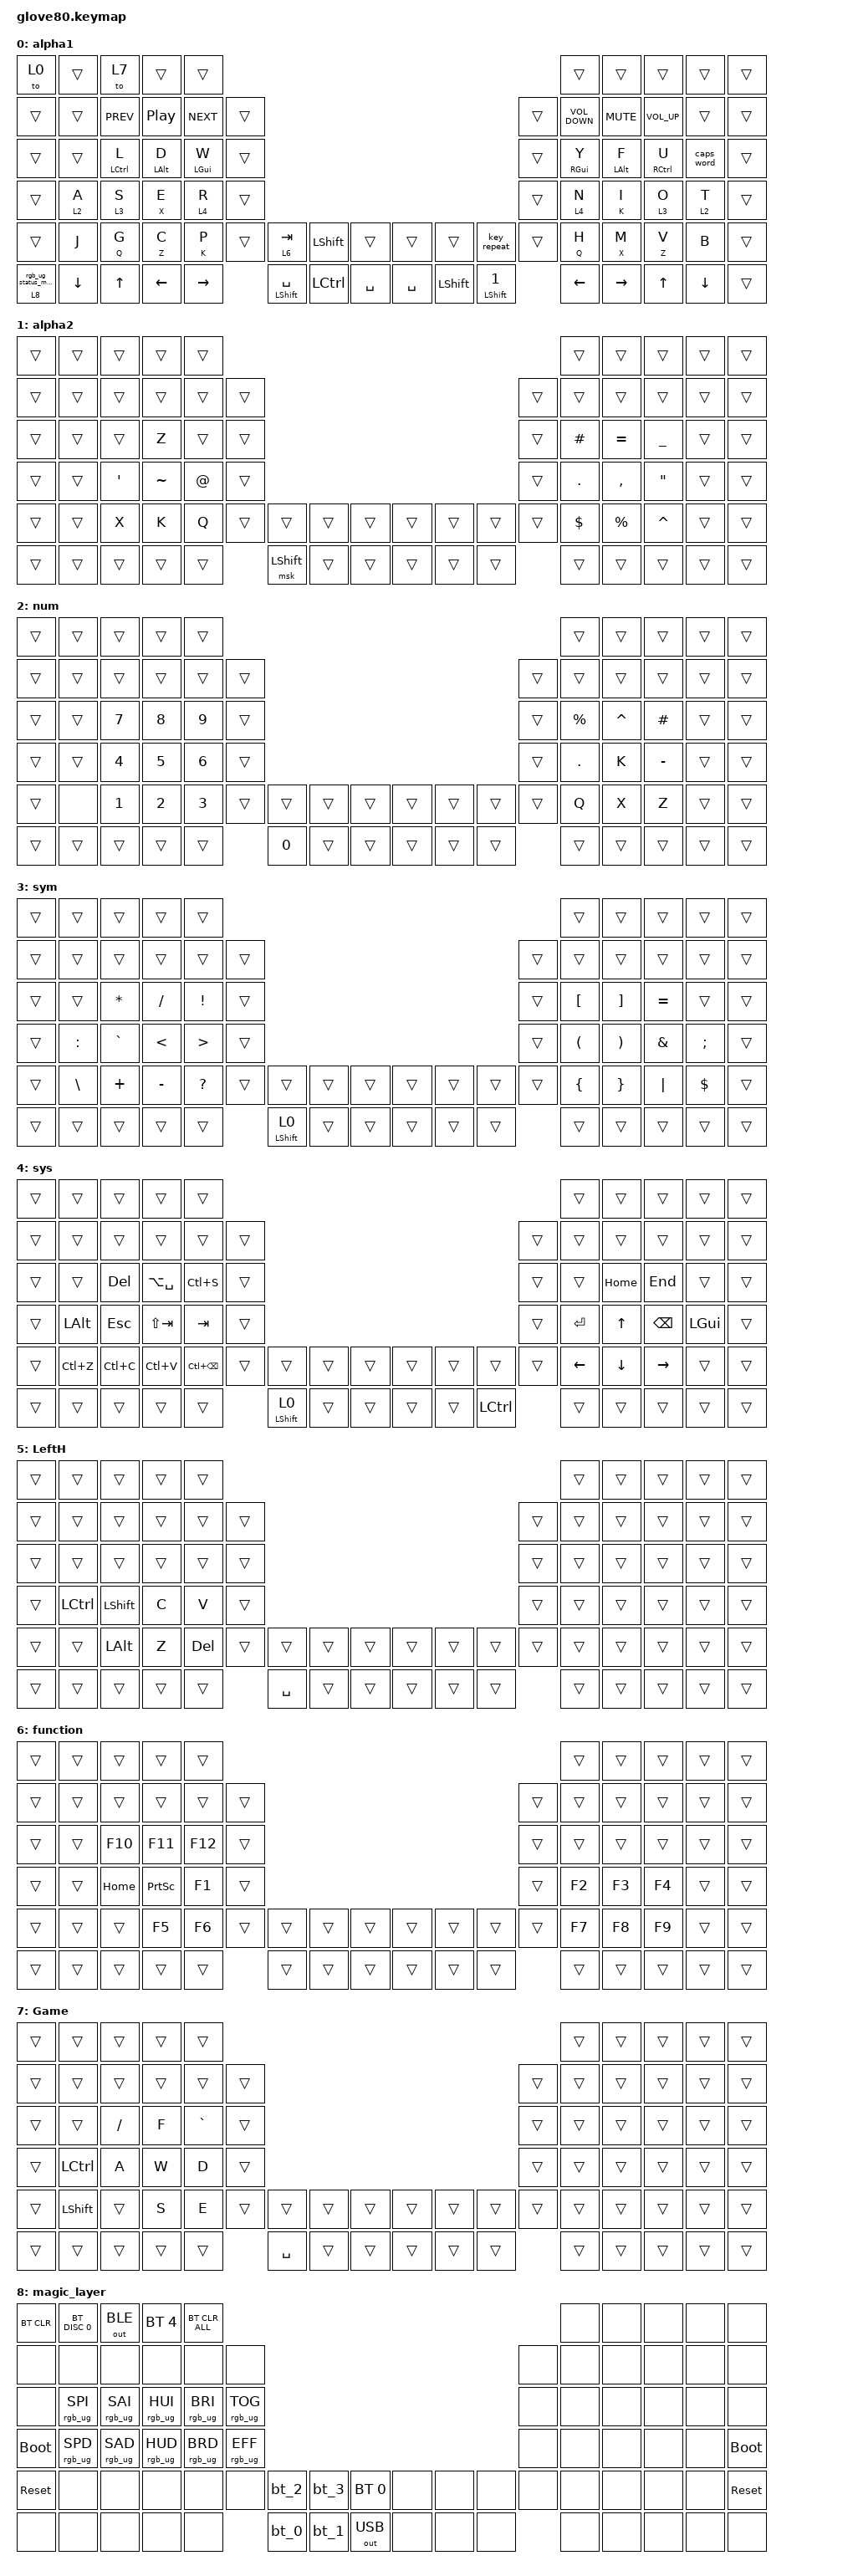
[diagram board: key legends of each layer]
/*
 * Copyright (c) 2020 The ZMK Contributors
 *
 * SPDX-License-Identifier: MIT
 */

#include <behaviors.dtsi>
#include <dt-bindings/zmk/bt.h>
#include <dt-bindings/zmk/keys.h>
#include <dt-bindings/zmk/outputs.h>
#include <dt-bindings/zmk/rgb.h>

// layers

#define DEFAULT 0
#define LOWER 1
#define MAGIC 2

&mt {
    tapping-term-ms = <201>;
    flavor = "tap-preferred";
};

&sk {
    release-after-ms = <2000>;
    quick-release;
};

/ {
    behaviors {
        // For the "layer" key, it'd nice to be able to use it as either a shift or a toggle.
        // Configure it as a tap dance, so the first tap (or hold) is a &mo and the second tap is a &to

        magic: magic_hold_tap {
            compatible = "zmk,behavior-hold-tap";
            label = "MAGIC_HOLD_TAP";
            #binding-cells = <2>;
            flavor = "tap-preferred";
            tapping-term-ms = <200>;
            bindings = <&mo>, <&rgb_ug_status_macro>;
        };

        layer_td: tap_dance_0 {
            compatible = "zmk,behavior-tap-dance";
            #binding-cells = <0>;
            tapping-term-ms = <200>;
            bindings = <&mo 8>, <&to 8>;
        };

        hl: hl {
            compatible = "zmk,behavior-hold-tap";
            label = "HL";
            bindings = <&sl>, <&kp>;

            #binding-cells = <2>;
            tapping-term-ms = <220>;
            quick-tap-ms = <0>;
            flavor = "tap-preferred";
            hold-trigger-on-release;
            require-prior-idle-ms = <50>;
        };

        sr: sr {
            compatible = "zmk,behavior-hold-tap";
            label = "SR";
            bindings = <&kp>, <&to>;

            #binding-cells = <2>;
            tapping-term-ms = <300>;
            quick-tap-ms = <0>;
            flavor = "tap-preferred";
            retro-tap;
            require-prior-idle-ms = <50>;
        };

        hm: hm {
            compatible = "zmk,behavior-hold-tap";
            label = "HM";
            bindings = <&kp>, <&kp>;

            #binding-cells = <2>;
            tapping-term-ms = <300>;
            flavor = "tap-preferred";
            quick-tap-ms = <0>;
            hold-trigger-on-release;
            require-prior-idle-ms = <50>;
        };

        td: td {
            compatible = "zmk,behavior-hold-tap";
            label = "TD";
            bindings = <&kp>, <&kp>;

            #binding-cells = <2>;
            tapping-term-ms = <190>;
            flavor = "tap-preferred";
            quick-tap-ms = <0>;
            hold-trigger-on-release;
            require-prior-idle-ms = <50>;
        };

        alpha2: alpha2 {
            compatible = "zmk,behavior-hold-tap";
            label = "ALPHA2";
            bindings = <&mo>, <&alpha2macro>;

            #binding-cells = <2>;
            flavor = "tap-preferred";
            tapping-term-ms = <300>;
            quick-tap-ms = <0>;
        };

        kpsk: kpsk {
            compatible = "zmk,behavior-hold-tap";
            label = "KPSK";
            bindings = <&msk>, <&kp>;

            #binding-cells = <2>;
            hold-trigger-on-release;
            tapping-term-ms = <190>;
            require-prior-idle-ms = <50>;
            flavor = "tap-preferred";
        };

        kplayer: kplayer {
            compatible = "zmk,behavior-hold-tap";
            label = "KPLAYER";
            bindings = <&msk>, <&msl>;

            #binding-cells = <2>;
            hold-trigger-on-release;
            tapping-term-ms = <190>;
            require-prior-idle-ms = <50>;
            flavor = "tap-preferred";
        };
    };

    macros {
        rgb_ug_status_macro: rgb_ug_status_macro_0 {
            label = "RGB_UG_STATUS";
            compatible = "zmk,behavior-macro";
            #binding-cells = <0>;
            bindings = <&rgb_ug RGB_STATUS>;
        };

        bt_0: bt_profile_macro_0 {
            compatible = "zmk,behavior-macro";
            #binding-cells = <0>;
            bindings = <&out OUT_BLE &bt BT_SEL 0>;
        };

        bt_1: bt_profile_macro_1 {
            compatible = "zmk,behavior-macro";
            #binding-cells = <0>;
            bindings = <&out OUT_BLE &bt BT_SEL 1>;
        };

        bt_2: bt_profile_macro_2 {
            compatible = "zmk,behavior-macro";
            #binding-cells = <0>;
            bindings = <&out OUT_BLE &bt BT_SEL 2>;
        };

        bt_3: bt_profile_macro_3 {
            compatible = "zmk,behavior-macro";
            #binding-cells = <0>;
            bindings = <&out OUT_BLE &bt BT_SEL 3>;
        };

        alpha2macro: alpha2macro {
            compatible = "zmk,behavior-macro";
            #binding-cells = <0>;
            bindings = <&msl 1>;
            label = "ALPHA2MACRO";
        };

        msk: sk {
            compatible = "zmk,behavior-macro-one-param";
            #binding-cells = <1>;
            bindings = <&macro_param_1to1 &sk MACRO_PLACEHOLDER>;
            label = "SK";
        };

        msl: sl {
            compatible = "zmk,behavior-macro-one-param";
            #binding-cells = <1>;
            bindings = <&macro_param_1to1 &sl MACRO_PLACEHOLDER>;
            label = "SL";
        };
    };

    combos { compatible = "zmk,combos"; };

    keymap {
        compatible = "zmk,keymap";

        alpha1 {
            bindings = <
&to 0       &trans    &to 7         &trans            &trans                                                                                                                               &trans             &trans          &trans           &trans      &trans
&trans      &trans    &kp C_PREV    &kp C_PLAY_PAUSE  &kp C_NEXT      &trans                                                                                                       &trans  &kp C_VOLUME_DOWN  &kp C_MUTE      &kp C_VOLUME_UP  &trans      &trans
&trans      &trans    &hm LCTRL L   &hm LALT D        &hm LEFT_GUI W  &trans                                                                                                       &trans  &hm RIGHT_GUI Y    &hm LEFT_ALT F  &hm RCTRL U      &caps_word  &trans
&trans      &hl 2 A   &hl 3 S       &mt X E           &hl 4 R         &trans                                                                                                       &trans  &hl 4 N            &mt K I         &hl 3 O          &hl 2 T     &trans
&trans      &kp J     &mt Q G       &mt Z C           &mt K P         &trans  &hl 6 TAB               &kp LEFT_SHIFT  &trans     &trans     &trans          &key_repeat            &trans  &mt Q H            &mt X M         &mt Z V          &kp B       &trans
&magic 8 0  &kp DOWN  &kp UP_ARROW  &kp LEFT          &kp RIGHT               &kpsk LEFT_SHIFT SPACE  &kp LCTRL       &kp SPACE  &kp SPACE  &kp LEFT_SHIFT  &kplayer LEFT_SHIFT 1          &kp LEFT           &kp RIGHT       &kp UP           &kp DOWN    &trans
            >;
        };

        alpha2 {
            bindings = <
&trans  &trans  &trans   &trans     &trans                                                                                &trans      &trans       &trans             &trans  &trans
&trans  &trans  &trans   &trans     &trans       &trans                                                           &trans  &trans      &trans       &trans             &trans  &trans
&trans  &trans  &trans   &kp Z      &trans       &trans                                                           &trans  &kp HASH    &kp EQUAL    &kp UNDERSCORE     &trans  &trans
&trans  &trans  &kp SQT  &kp TILDE  &kp AT_SIGN  &trans                                                           &trans  &kp PERIOD  &kp COMMA    &kp DOUBLE_QUOTES  &trans  &trans
&trans  &trans  &kp X    &kp K      &kp Q        &trans  &trans           &trans  &trans  &trans  &trans  &trans  &trans  &kp DLLR    &kp PERCENT  &kp CARET          &trans  &trans
&trans  &trans  &trans   &trans     &trans               &msk LEFT_SHIFT  &trans  &trans  &trans  &trans  &trans          &trans      &trans       &trans             &trans  &trans
            >;
        };

        num {
            bindings = <
&trans  &trans  &trans        &trans        &trans                                                                              &trans       &trans     &trans     &trans  &trans
&trans  &trans  &trans        &trans        &trans        &trans                                                        &trans  &trans       &trans     &trans     &trans  &trans
&trans  &trans  &kp N7        &kp NUMBER_8  &kp NUMBER_9  &trans                                                        &trans  &kp PERCENT  &kp CARET  &kp POUND  &trans  &trans
&trans  &trans  &kp NUMBER_4  &kp NUMBER_5  &kp NUMBER_6  &trans                                                        &trans  &kp PERIOD   &kp K      &kp MINUS  &trans  &trans
&trans  &none   &kp NUMBER_1  &kp NUMBER_2  &kp NUMBER_3  &trans  &trans        &trans  &trans  &trans  &trans  &trans  &trans  &kp Q        &kp X      &kp Z      &trans  &trans
&trans  &trans  &trans        &trans        &trans                &kp NUMBER_0  &trans  &trans  &trans  &trans  &trans          &trans       &trans     &trans     &trans  &trans
            >;
        };

        sym {
            bindings = <
&trans  &trans         &trans     &trans         &trans                                                                                      &trans                &trans                 &trans         &trans      &trans
&trans  &trans         &trans     &trans         &trans            &trans                                                            &trans  &trans                &trans                 &trans         &trans      &trans
&trans  &trans         &kp STAR   &kp SLASH      &kp EXCLAMATION   &trans                                                            &trans  &kp LEFT_BRACKET      &kp RIGHT_BRACKET      &kp EQUAL      &trans      &trans
&trans  &kp COLON      &kp GRAVE  &kp LESS_THAN  &kp GREATER_THAN  &trans                                                            &trans  &kp LEFT_PARENTHESIS  &kp RIGHT_PARENTHESIS  &kp AMPERSAND  &kp SEMI    &trans
&trans  &kp BACKSLASH  &kp PLUS   &kp MINUS      &kp QUESTION      &trans  &trans            &trans  &trans  &trans  &trans  &trans  &trans  &kp LEFT_BRACE        &kp RIGHT_BRACE        &kp PIPE       &kp DOLLAR  &trans
&trans  &trans         &trans     &trans         &trans                    &sr LEFT_SHIFT 0  &trans  &trans  &trans  &trans  &trans          &trans                &trans                 &trans         &trans      &trans
            >;
        };

        sys {
            bindings = <
&trans  &trans     &trans      &trans         &trans                                                                                     &trans     &trans    &trans     &trans        &trans
&trans  &trans     &trans      &trans         &trans             &trans                                                          &trans  &trans     &trans    &trans     &trans        &trans
&trans  &trans     &kp DELETE  &kp LA(SPACE)  &kp LC(S)          &trans                                                          &trans  &trans     &kp HOME  &kp END    &trans        &trans
&trans  &kp LALT   &kp ESC     &kp LS(TAB)    &kp TAB            &trans                                                          &trans  &kp ENTER  &kp UP    &kp BSPC   &kp LEFT_GUI  &trans
&trans  &kp LC(Z)  &kp LC(C)   &kp LC(V)      &kp LC(BACKSPACE)  &trans  &trans       &trans  &trans  &trans  &trans  &trans     &trans  &kp LEFT   &kp DOWN  &kp RIGHT  &trans        &trans
&trans  &trans     &trans      &trans         &trans                     &sr LSHFT 0  &trans  &trans  &trans  &trans  &kp LCTRL          &trans     &trans    &trans     &trans        &trans
            >;
        };

        LeftH {
            bindings = <
&trans  &trans     &trans          &trans  &trans                                                                      &trans  &trans  &trans  &trans  &trans
&trans  &trans     &trans          &trans  &trans   &trans                                                     &trans  &trans  &trans  &trans  &trans  &trans
&trans  &trans     &trans          &trans  &trans   &trans                                                     &trans  &trans  &trans  &trans  &trans  &trans
&trans  &kp LCTRL  &kp LEFT_SHIFT  &kp C   &kp V    &trans                                                     &trans  &trans  &trans  &trans  &trans  &trans
&trans  &trans     &kp LALT        &kp Z   &kp DEL  &trans  &trans     &trans  &trans  &trans  &trans  &trans  &trans  &trans  &trans  &trans  &trans  &trans
&trans  &trans     &trans          &trans  &trans           &kp SPACE  &trans  &trans  &trans  &trans  &trans          &trans  &trans  &trans  &trans  &trans
            >;
        };

        function {
            bindings = <
&trans  &trans  &trans    &trans           &trans                                                                   &trans  &trans  &trans  &trans  &trans
&trans  &trans  &trans    &trans           &trans   &trans                                                  &trans  &trans  &trans  &trans  &trans  &trans
&trans  &trans  &kp F10   &kp F11          &kp F12  &trans                                                  &trans  &trans  &trans  &trans  &trans  &trans
&trans  &trans  &kp HOME  &kp PRINTSCREEN  &kp F1   &trans                                                  &trans  &kp F2  &kp F3  &kp F4  &trans  &trans
&trans  &trans  &trans    &kp F5           &kp F6   &trans  &trans  &trans  &trans  &trans  &trans  &trans  &trans  &kp F7  &kp F8  &kp F9  &trans  &trans
&trans  &trans  &trans    &trans           &trans           &trans  &trans  &trans  &trans  &trans  &trans          &trans  &trans  &trans  &trans  &trans
            >;
        };

        Game {
            bindings = <
&trans  &trans            &trans     &trans  &trans                                                                        &trans  &trans  &trans  &trans  &trans
&trans  &trans            &trans     &trans  &trans     &trans                                                     &trans  &trans  &trans  &trans  &trans  &trans
&trans  &trans            &kp SLASH  &kp F   &kp GRAVE  &trans                                                     &trans  &trans  &trans  &trans  &trans  &trans
&trans  &kp LEFT_CONTROL  &kp A      &kp W   &kp D      &trans                                                     &trans  &trans  &trans  &trans  &trans  &trans
&trans  &kp LEFT_SHIFT    &trans     &kp S   &kp E      &trans  &trans     &trans  &trans  &trans  &trans  &trans  &trans  &trans  &trans  &trans  &trans  &trans
&trans  &trans            &trans     &trans  &trans             &kp SPACE  &trans  &trans  &trans  &trans  &trans          &trans  &trans  &trans  &trans  &trans
            >;
        };

        magic_layer {
            bindings = <
&bt BT_CLR   &bt BT_DISC 0    &out OUT_BLE     &bt BT_SEL 4     &bt BT_CLR_ALL                                                                            &none  &none  &none  &none  &none
&none        &none            &none            &none            &none            &none                                                             &none  &none  &none  &none  &none  &none
&none        &rgb_ug RGB_SPI  &rgb_ug RGB_SAI  &rgb_ug RGB_HUI  &rgb_ug RGB_BRI  &rgb_ug RGB_TOG                                                   &none  &none  &none  &none  &none  &none
&bootloader  &rgb_ug RGB_SPD  &rgb_ug RGB_SAD  &rgb_ug RGB_HUD  &rgb_ug RGB_BRD  &rgb_ug RGB_EFF                                                   &none  &none  &none  &none  &none  &bootloader
&sys_reset   &none            &none            &none            &none            &none            &bt_2  &bt_3  &bt BT_SEL 0  &none  &none  &none  &none  &none  &none  &none  &none  &sys_reset
&none        &none            &none            &none            &none                             &bt_0  &bt_1  &out OUT_USB  &none  &none  &none         &none  &none  &none  &none  &none
            >;
        };
    };
};
